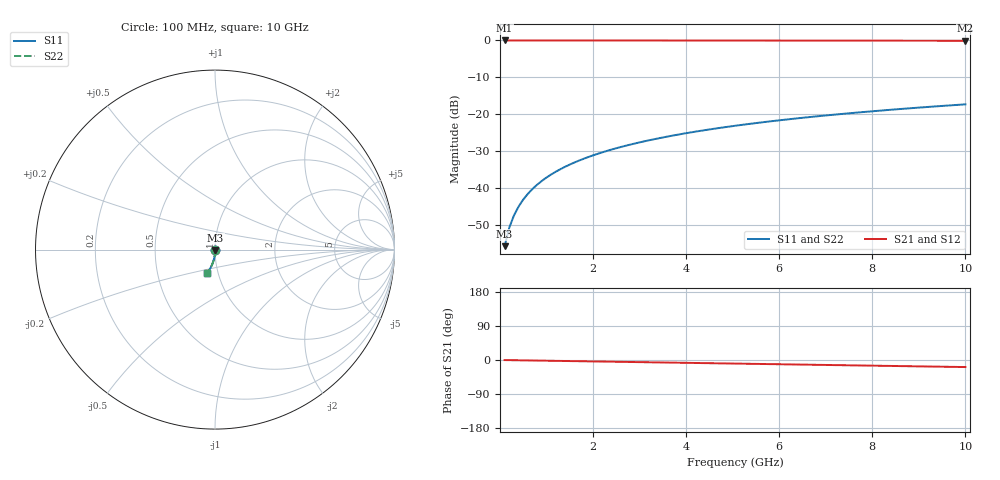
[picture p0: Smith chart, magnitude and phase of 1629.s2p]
# Hz S RI R 50.00
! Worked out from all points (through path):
!   100 points, 100 MHz to 10 GHz, reference 50 ohm
!   highest |S21| = -0.01 dB at 100 MHz (marker M1); lowest = -0.1 dB at 10 GHz (marker M2)
!   group delay of S21, straight-line fit = 5.18 ps
!   lowest |S11| = -55.7 dB at 100 MHz (marker M3), VSWR 1.00, Z = 50.1 - j0.139 ohm
!   |S11| at or under -10 dB: start of sweep to end of sweep
!   |S22| runs from -55.7 to -17.3 dB; largest |S21 - S12| = 0
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1e8  0.000863 -0.00139  0.9991 -0.00326  0.9991 -0.00326  0.000863 -0.00139
2e8  0.000853 -0.00279  0.9991 -0.00652  0.9991 -0.00652  0.000853 -0.00279
3e8  0.000832 -0.00418  0.9991 -0.00978  0.9991 -0.00978  0.000832 -0.00418
4e8  0.000802 -0.00557  0.999 -0.013  0.999 -0.013  0.000802 -0.00557
5e8  0.000762 -0.00696  0.9989 -0.0163  0.9989 -0.0163  0.000762 -0.00696
6e8  0.000712 -0.00835  0.9989 -0.0196  0.9989 -0.0196  0.000712 -0.00835
7e8  0.000654 -0.00974  0.9988 -0.0228  0.9988 -0.0228  0.000654 -0.00974
8e8  0.000586 -0.0111  0.9987 -0.0261  0.9987 -0.0261  0.000586 -0.0111
9e8  0.000508 -0.0125  0.9986 -0.0293  0.9986 -0.0293  0.000508 -0.0125
1.1e9  0.000326 -0.0153  0.9983 -0.0358  0.9983 -0.0358  0.000326 -0.0153
1.4e9  -1.51e-05 -0.0195  0.9978 -0.0456  0.9978 -0.0456  -1.51e-05 -0.0195
1.8e9  -0.000598 -0.025  0.997 -0.0586  0.997 -0.0586  -0.000598 -0.025
2.1e9  -0.00113 -0.0292  0.9963 -0.0684  0.9963 -0.0684  -0.00113 -0.0292
2.5e9  -0.00197 -0.0347  0.9951 -0.0814  0.9951 -0.0814  -0.00197 -0.0347
2.9e9  -0.00294 -0.0402  0.9937 -0.0943  0.9937 -0.0943  -0.00294 -0.0402
3.4e9  -0.00437 -0.047  0.9917 -0.1105  0.9917 -0.1105  -0.00437 -0.047
4.2e9  -0.00711 -0.0578  0.9879 -0.1362  0.9879 -0.1362  -0.00711 -0.0578
5.1e9  -0.0109 -0.0697  0.9827 -0.165  0.9827 -0.165  -0.0109 -0.0697
5.9e9  -0.0148 -0.0801  0.9772 -0.1904  0.9772 -0.1904  -0.0148 -0.0801
6.7e9  -0.0192 -0.0903  0.971 -0.2155  0.971 -0.2155  -0.0192 -0.0903
8.4e9  -0.0303 -0.1111  0.9552 -0.2681  0.9552 -0.2681  -0.0303 -0.1111
1e10  -0.0428 -0.1294  0.9375 -0.3163  0.9375 -0.3163  -0.0428 -0.1294
